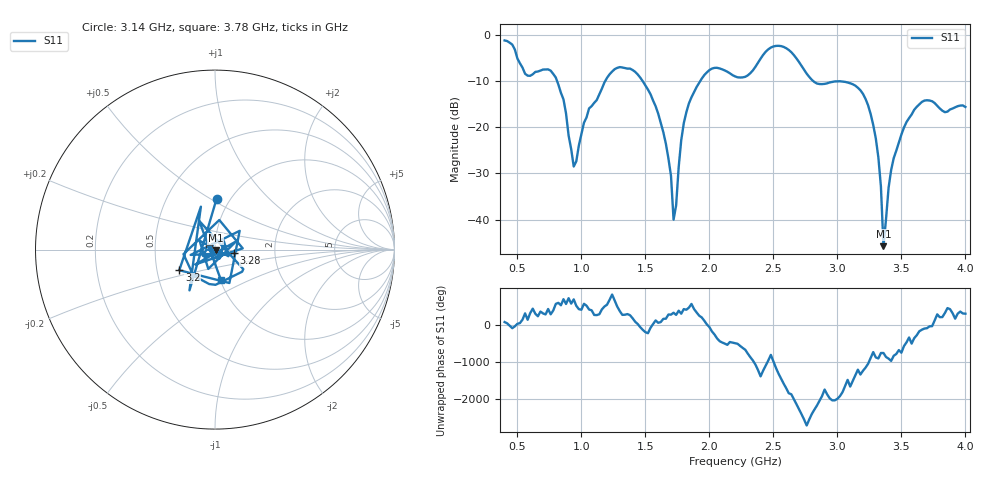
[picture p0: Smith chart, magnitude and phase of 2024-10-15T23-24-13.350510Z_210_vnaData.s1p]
! Created with skrf (http://scikit-rf.org).
# Hz S RI R 50.0
!freq ReS11 ImS11
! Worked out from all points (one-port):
!   181 points, 400 MHz to 4 GHz, reference 50 ohm
!   lowest |S11| = -45.8 dB at 3.36 GHz (marker M1), VSWR 1.01, Z = 50.4 - j0.298 ohm
!   |S11| at or under -10 dB: 810.2 MHz to 1.186 GHz (375.6 MHz wide, 37.6 % of centre); 1.479 GHz to 1.928 GHz (449.2 MHz wide, 26.4 % of centre); 2.812 GHz to end of sweep
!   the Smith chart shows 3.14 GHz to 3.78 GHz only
!   S11 on the Smith chart (normalised r, x): 3.14 GHz: 0.87, +0.53; 3.2 GHz: 0.65, -0.16; 3.28 GHz: 1.23, -0.05; 3.78 GHz: 1.01, -0.35
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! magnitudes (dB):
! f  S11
! 400 MHz  -1.2
! 580 MHz  -8.8
! 760 MHz  -7.7
! 860 MHz  -14.0
! 940 MHz  -28.5
! 1.06 GHz  -15.9
! 1.3 GHz  -7.0
! 1.58 GHz  -15.4
! 1.68 GHz  -26.8
! 1.7 GHz  -30.5
! 1.72 GHz  -40.0
! 1.76 GHz  -28.6
! 1.82 GHz  -16.7
! 1.92 GHz  -10.4
! 2.2 GHz  -9.0
! 2.5 GHz  -2.5
! 2.66 GHz  -4.4
! 2.84 GHz  -10.5
! 3.1 GHz  -10.5
! 3.14 GHz  -11.0
! 3.2 GHz  -12.8
! 3.28 GHz  -19.5
! 3.34 GHz  -32.8
! 3.36 GHz  -45.8
! 3.42 GHz  -29.3
! 3.56 GHz  -18.0
! 3.78 GHz  -15.3
! 4 GHz  -15.6
